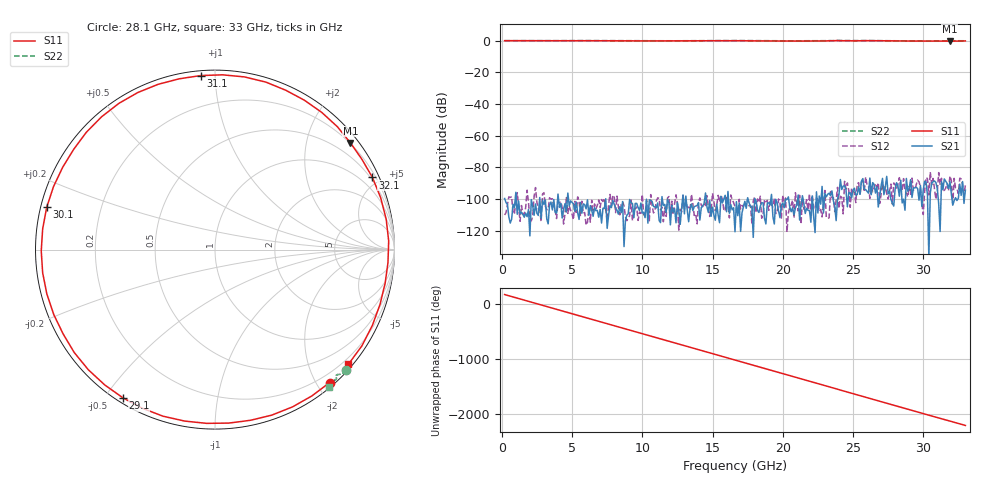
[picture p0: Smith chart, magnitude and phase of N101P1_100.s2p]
# GHZ S RI R 50
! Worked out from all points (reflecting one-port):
!   329 points, 200 MHz to 33 GHz, reference 50 ohm
!   lowest |S11| = -0.3 dB at 31.9 GHz (marker M1), VSWR 49.85, Z = 9.31 + j144 ohm
!   phase of S11 starts at 165 deg and turns -2366 deg over the sweep
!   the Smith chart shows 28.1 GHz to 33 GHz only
!   S11 on the Smith chart (normalised r, x): 28.1 GHz: 0.06, -2.18; 29.1 GHz: 0.02, -0.56; 30.1 GHz: 0.02, +0.12; 31.1 GHz: 0.03, +0.92; 32.1 GHz: 0.39, +4.55; 33 GHz: 0.08, -2.69
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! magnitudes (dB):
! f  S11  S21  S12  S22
! 200 MHz  0.0  -99.7  -110.2  0.0
! 5.7 GHz  0.0  -109.1  -101.5  0.0
! 11.2 GHz  -0.1  -113.7  -99.8  -0.1
! 12 GHz  -0.2  -116.4  -108.8  -0.1
! 16.6 GHz  0.0  -120.8  -104.9  0.1
! 20 GHz  -0.2  -102.7  -97.6  -0.1
! 22.1 GHz  -0.2  -98.2  -97.6  0.0
! 23.4 GHz  -0.2  -98.0  -95.4  0.0
! 23.5 GHz  -0.2  -95.0  -99.4  0.0
! 23.9 GHz  0.1  -99.9  -92.7  0.1
! 24.3 GHz  -0.1  -91.9  -109.5  0.1
! 25 GHz  -0.1  -94.3  -95.3  0.1
! 25.6 GHz  0.0  -88.8  -89.6  0.1
! 27.6 GHz  -0.1  -95.1  -94.9  0.0
! 28.1 GHz  -0.2  -89.8  -93.6  -0.1
! 29.1 GHz  -0.2  -87.9  -97.1  -0.1
! 30.1 GHz  -0.3  -88.8  -95.3  -0.2
! 31.1 GHz  -0.2  -103.1  -83.4  -0.1
! 31.9 GHz  -0.3  -89.3  -85.6  -0.1
! 32.1 GHz  -0.3  -104.0  -103.3  -0.1
! 32.6 GHz  -0.3  -90.7  -86.9  -0.1
! 33 GHz  -0.2  -94.5  -91.3  -0.1
